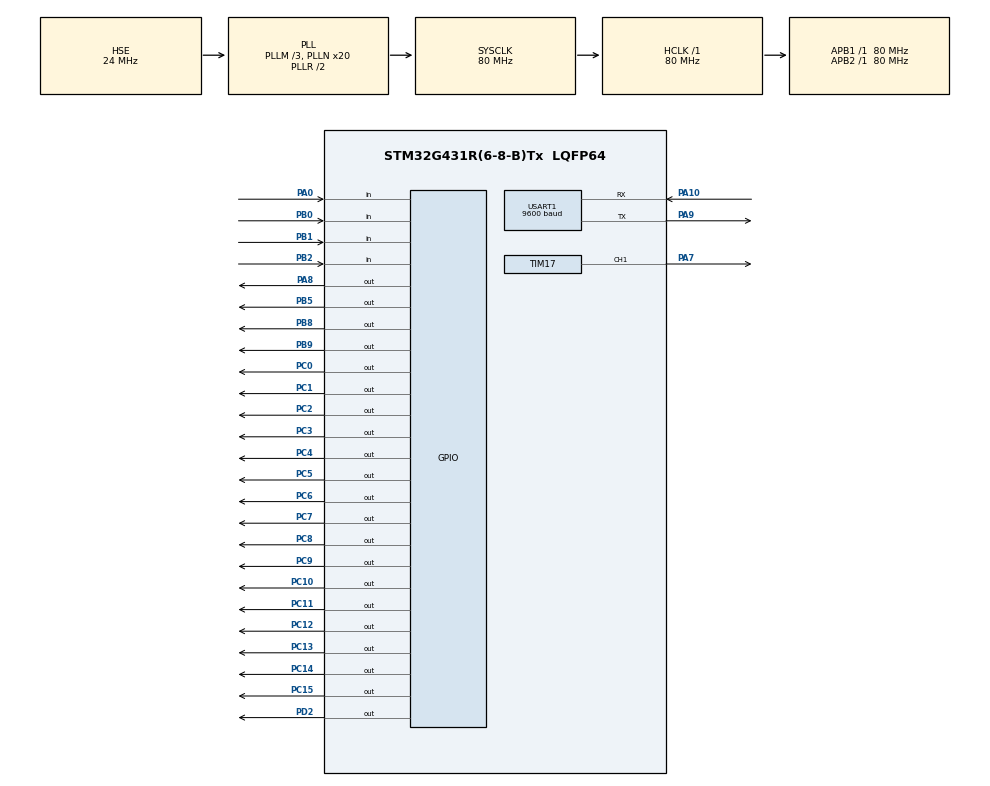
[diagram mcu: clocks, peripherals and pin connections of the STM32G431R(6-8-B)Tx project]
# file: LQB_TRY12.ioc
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Dma.Request0=USART1_RX
Dma.Request1=USART1_TX
Dma.USART1_RX.0.Direction=DMA_PERIPH_TO_MEMORY
Dma.USART1_RX.0.EventEnable=DISABLE
Dma.USART1_RX.0.Instance=DMA1_Channel1
Dma.USART1_RX.0.MemDataAlignment=DMA_MDATAALIGN_BYTE
Dma.USART1_RX.0.MemInc=DMA_MINC_ENABLE
Dma.USART1_RX.0.Mode=DMA_NORMAL
Dma.USART1_RX.0.PeriphDataAlignment=DMA_PDATAALIGN_BYTE
Dma.USART1_RX.0.PeriphInc=DMA_PINC_DISABLE
Dma.USART1_RX.0.Polarity=HAL_DMAMUX_REQ_GEN_RISING
Dma.USART1_RX.0.Priority=DMA_PRIORITY_LOW
Dma.USART1_RX.0.RequestNumber=1
Dma.USART1_RX.0.SignalID=NONE
Dma.USART1_RX.0.SyncEnable=DISABLE
Dma.USART1_RX.0.SyncPolarity=HAL_DMAMUX_SYNC_NO_EVENT
Dma.USART1_RX.0.SyncRequestNumber=1
Dma.USART1_RX.0.SyncSignalID=NONE
Dma.USART1_TX.1.Direction=DMA_MEMORY_TO_PERIPH
Dma.USART1_TX.1.EventEnable=DISABLE
Dma.USART1_TX.1.Instance=DMA1_Channel2
Dma.USART1_TX.1.MemDataAlignment=DMA_MDATAALIGN_BYTE
Dma.USART1_TX.1.MemInc=DMA_MINC_ENABLE
Dma.USART1_TX.1.Mode=DMA_NORMAL
Dma.USART1_TX.1.PeriphDataAlignment=DMA_PDATAALIGN_BYTE
Dma.USART1_TX.1.PeriphInc=DMA_PINC_DISABLE
Dma.USART1_TX.1.Polarity=HAL_DMAMUX_REQ_GEN_RISING
Dma.USART1_TX.1.Priority=DMA_PRIORITY_LOW
Dma.USART1_TX.1.RequestNumber=1
Dma.USART1_TX.1.SignalID=NONE
Dma.USART1_TX.1.SyncEnable=DISABLE
Dma.USART1_TX.1.SyncPolarity=HAL_DMAMUX_SYNC_NO_EVENT
Dma.USART1_TX.1.SyncRequestNumber=1
Dma.USART1_TX.1.SyncSignalID=NONE
Mcu.Family=STM32G4
Mcu.Name=STM32G431R(6-8-B)Tx
Mcu.Package=LQFP64
NVIC.DMA1_Channel1_IRQn=true\:0\:0\:false\:false\:true\:false\:true
NVIC.DMA1_Channel2_IRQn=true\:0\:0\:false\:false\:true\:false\:true
NVIC.PriorityGroup=NVIC_PRIORITYGROUP_4
NVIC.TIM3_IRQn=true\:0\:0\:false\:false\:true\:true\:true
NVIC.USART1_IRQn=true\:0\:0\:false\:false\:true\:true\:true
PA0.GPIO_Mode=GPIO_MODE_INPUT
PA0.GPIO_PuPd=GPIO_PULLUP
PA0.Signal=GPIO_Input
PA10.Mode=Asynchronous
PA10.Signal=USART1_RX
PA13.Mode=Serial_Wire
PA13.Signal=SYS_JTMS-SWDIO
PA14.Mode=Serial_Wire
PA14.Signal=SYS_JTCK-SWCLK
PA7.Signal=S_TIM17_CH1
PA8.Signal=GPIO_Output
PA9.Mode=Asynchronous
PA9.Signal=USART1_TX
PB0.GPIO_Mode=GPIO_MODE_INPUT
PB0.GPIO_PuPd=GPIO_PULLUP
PB0.Signal=GPIO_Input
PB1.GPIO_Mode=GPIO_MODE_INPUT
PB1.GPIO_PuPd=GPIO_PULLUP
PB1.Signal=GPIO_Input
PB2.GPIO_Mode=GPIO_MODE_INPUT
PB2.GPIO_PuPd=GPIO_PULLUP
PB2.Signal=GPIO_Input
PB5.Signal=GPIO_Output
PB8-BOOT0.Signal=GPIO_Output
PB9.Signal=GPIO_Output
PC0.Signal=GPIO_Output
PC1.Signal=GPIO_Output
PC10.Signal=GPIO_Output
PC11.Signal=GPIO_Output
PC12.Signal=GPIO_Output
PC13.Signal=GPIO_Output
PC14-OSC32_IN.Signal=GPIO_Output
PC15-OSC32_OUT.Signal=GPIO_Output
PC2.Signal=GPIO_Output
PC3.Signal=GPIO_Output
PC4.Signal=GPIO_Output
PC5.Signal=GPIO_Output
PC6.Signal=GPIO_Output
PC7.Signal=GPIO_Output
PC8.Signal=GPIO_Output
PC9.Signal=GPIO_Output
PD2.Signal=GPIO_Output
PF0-OSC_IN.Mode=HSE-External-Oscillator
PF0-OSC_IN.Signal=RCC_OSC_IN
PF1-OSC_OUT.Mode=HSE-External-Oscillator
PF1-OSC_OUT.Signal=RCC_OSC_OUT
ProjectManager.HeapSize=0x200
ProjectManager.StackSize=0x400
ProjectManager.TargetToolchain=MDK-ARM V5
RCC.ADC12Freq_Value=80000000
RCC.AHBFreq_Value=80000000
RCC.APB1Freq_Value=80000000
RCC.APB1TimFreq_Value=80000000
RCC.APB2Freq_Value=80000000
RCC.APB2TimFreq_Value=80000000
RCC.CortexFreq_Value=80000000
RCC.EXTERNAL_CLOCK_VALUE=12288000
RCC.HCLKFreq_Value=80000000
RCC.HSE_VALUE=24000000
RCC.HSI48_VALUE=48000000
RCC.HSI_VALUE=16000000
RCC.LSE_VALUE=32768
RCC.PLLM=RCC_PLLM_DIV3
RCC.PLLN=20
RCC.PLLSourceVirtual=RCC_PLLSOURCE_HSE
RCC.SYSCLKFreq_VALUE=80000000
RCC.SYSCLKSource=RCC_SYSCLKSOURCE_PLLCLK
RCC.USBFreq_Value=80000000
RCC.VCOOutputFreq_Value=160000000
SH.S_TIM17_CH1.0=TIM17_CH1,PWM Generation1 CH1
TIM17.Channel=TIM_CHANNEL_1
TIM17.PeriodNoDither=1000-1
TIM17.Prescaler=40-1
TIM3.PeriodNoDither=100-1
TIM3.Prescaler=800-1
USART1.BaudRate=9600
USART1.VirtualMode-Asynchronous=VM_ASYNC
USART1.WordLength=WORDLENGTH_8B
VP_SYS_VS_DBSignals.Mode=DisableDeadBatterySignals
VP_TIM17_VS_ClockSourceINT.Mode=Enable_Timer
VP_TIM3_VS_ClockSourceINT.Mode=Internal
board=custom

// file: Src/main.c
/* USER CODE BEGIN Header */
/**
  ******************************************************************************
  * @file           : main.c
  * @brief          : Main program body
  ******************************************************************************
  * @attention
  *
  * <h2><center>&copy; Copyright (c) 2023 STMicroelectronics.
  * All rights reserved.</center></h2>
  *
  * This software component is licensed by ST under BSD 3-Clause license,
  * the "License"; You may not use this file except in compliance with the
  * License. You may obtain a copy of the License at:
  *                        opensource.org/licenses/BSD-3-Clause
  *
  ******************************************************************************
  */
/* USER CODE END Header */

#include "main.h"
#include "dma.h"
#include "tim.h"
#include "usart.h"
#include "gpio.h"

/* USER CODE BEGIN Includes */
#include "lcd.h"
#include "mint.h"
#include "string.h"
#include "stdio.h"
/* USER CODE END Includes */

/* USER CODE BEGIN PV */
extern struct keys key[4];
bool page=0,pwm=1;
uint8_t sum=8,num_C=0,num_V=0;
double money_c=3.5,money_v=2;
char text[30];
extern unsigned char rxdata[100];

/* USER CODE END PV */

void SystemClock_Config(void);
/* USER CODE BEGIN PFP */
void KEY_Proc(void);
void LCD_Proc(void);
void usart1_Proc(void);
void LED_Proc(uint16_t pin);
/* USER CODE END PFP */

int main(void)
{

  /* MCU Configuration--------------------------------------------------------*/

  /* Reset of all peripherals, Initializes the Flash interface and the Systick. */
  HAL_Init();

  /* Configure the system clock */
  SystemClock_Config();

  /* Initialize all configured peripherals */
  MX_GPIO_Init();
  MX_DMA_Init();
  MX_TIM17_Init();
  MX_USART1_UART_Init();
  MX_TIM3_Init();
  /* USER CODE BEGIN 2 */
	HAL_TIM_Base_Start_IT(&htim3);

	HAL_TIM_PWM_Start(&htim17,TIM_CHANNEL_1);
	__HAL_TIM_SetCompare(&htim17,TIM_CHANNEL_1,0);

	HAL_UART_Receive_DMA(&huart1,rxdata,100);
	__HAL_UART_ENABLE_IT(&huart1,UART_IT_IDLE);

	LCD_Init();
	LCD_Clear(Black);
	LCD_SetBackColor(Black);
	LCD_SetTextColor(White);
  /* USER CODE END 2 */

  /* Infinite loop */
  /* USER CODE BEGIN WHILE */
  while (1)
  {
		LCD_Proc();
		KEY_Proc();
		if(num_C+num_V<8 && pwm == 0) LED_Proc(0x03);
		else if(num_C+num_V<8 && pwm == 1) LED_Proc(0x01);
		else if(num_C+num_V>=8 && pwm == 0) LED_Proc(0x02);
		else LED_Proc(0x00);
    /* USER CODE END WHILE */

  }
}

void SystemClock_Config(void)
{
  RCC_OscInitTypeDef RCC_OscInitStruct = {0};
  RCC_ClkInitTypeDef RCC_ClkInitStruct = {0};
  RCC_PeriphCLKInitTypeDef PeriphClkInit = {0};

  /** Configure the main internal regulator output voltage
  */
  HAL_PWREx_ControlVoltageScaling(PWR_REGULATOR_VOLTAGE_SCALE1);
  /** Initializes the CPU, AHB and APB busses clocks
  */
  RCC_OscInitStruct.OscillatorType = RCC_OSCILLATORTYPE_HSE;
  RCC_OscInitStruct.HSEState = RCC_HSE_ON;
  RCC_OscInitStruct.PLL.PLLState = RCC_PLL_ON;
  RCC_OscInitStruct.PLL.PLLSource = RCC_PLLSOURCE_HSE;
  RCC_OscInitStruct.PLL.PLLM = RCC_PLLM_DIV3;
  RCC_OscInitStruct.PLL.PLLN = 20;
  RCC_OscInitStruct.PLL.PLLP = RCC_PLLP_DIV2;
  RCC_OscInitStruct.PLL.PLLQ = RCC_PLLQ_DIV2;
  RCC_OscInitStruct.PLL.PLLR = RCC_PLLR_DIV2;
  if (HAL_RCC_OscConfig(&RCC_OscInitStruct) != HAL_OK)
  {
    Error_Handler();
  }
  /** Initializes the CPU, AHB and APB busses clocks
  */
  RCC_ClkInitStruct.ClockType = RCC_CLOCKTYPE_HCLK|RCC_CLOCKTYPE_SYSCLK
                              |RCC_CLOCKTYPE_PCLK1|RCC_CLOCKTYPE_PCLK2;
  RCC_ClkInitStruct.SYSCLKSource = RCC_SYSCLKSOURCE_PLLCLK;
  RCC_ClkInitStruct.AHBCLKDivider = RCC_SYSCLK_DIV1;
  RCC_ClkInitStruct.APB1CLKDivider = RCC_HCLK_DIV1;
  RCC_ClkInitStruct.APB2CLKDivider = RCC_HCLK_DIV1;

  if (HAL_RCC_ClockConfig(&RCC_ClkInitStruct, FLASH_LATENCY_3) != HAL_OK)
  {
    Error_Handler();
  }
  /** Initializes the peripherals clocks
  */
  PeriphClkInit.PeriphClockSelection = RCC_PERIPHCLK_USART1;
  PeriphClkInit.Usart1ClockSelection = RCC_USART1CLKSOURCE_PCLK2;
  if (HAL_RCCEx_PeriphCLKConfig(&PeriphClkInit) != HAL_OK)
  {
    Error_Handler();
  }
}

/* USER CODE BEGIN 4 */
void KEY_Proc(void)
{
	if(key[0].single_sta == 1)
	{
		page = 1-page;
		key[0].single_sta = 0;
	}
	if(key[1].single_sta == 1)
	{
		if(page == 1)
		{
			money_c += 0.5;
			money_v += 0.5;
		}
		key[1].single_sta = 0;
	}
	if(key[2].single_sta == 1)
	{
		if(page == 1)
		{
			money_c = (money_c-0.5)>=0?(money_c-0.5):0;
			money_v = (money_v-0.5)>=0?(money_v-0.5):0;
		}
		key[2].single_sta = 0;
	}
	if(key[3].single_sta == 1)
	{
		pwm = 1 - pwm;
		if(pwm == 0) __HAL_TIM_SetCompare(&htim17,TIM_CHANNEL_1,200);
		else if(pwm == 1) __HAL_TIM_SetCompare(&htim17,TIM_CHANNEL_1,0);
		else pwm = 1;
		HAL_UART_Transmit_DMA(&huart1,(unsigned char *)"KEY4_DOWN\r\n",strlen("KEY4_DOWN\r\n"));
		key[3].single_sta = 0;
	}
}

void LCD_Proc(void)
{
	if(page == 0)
	{
		LCD_DisplayStringLine(Line1,(unsigned char *)"       Data         ");
		sprintf(text,"   CNBR:%d           ",num_C);
		LCD_DisplayStringLine(Line3,(unsigned char *)text);
		sprintf(text,"   VNBR:%d           ",num_V);
		LCD_DisplayStringLine(Line5,(unsigned char *)text);
		sprintf(text,"   IDLE:%d           ",8-num_C-num_V);
		LCD_DisplayStringLine(Line7,(unsigned char *)text);
	}
	else if(page == 1)
	{
		LCD_DisplayStringLine(Line1,(unsigned char *)"       Para         ");
		sprintf(text,"   CNBR:%.2f           ",money_c);
		LCD_DisplayStringLine(Line3,(unsigned char *)text);
		sprintf(text,"   VNBR:%.2f           ",money_v);
		LCD_DisplayStringLine(Line5,(unsigned char *)text);
		LCD_DisplayStringLine(Line7,(unsigned char *)"                    ");
	}
	else page = 1;
}

void LED_Proc(uint16_t pin)
{
	HAL_GPIO_WritePin(GPIOC,GPIO_PIN_All,GPIO_PIN_SET);
	HAL_GPIO_WritePin(GPIOC,pin << 8,GPIO_PIN_RESET);
	HAL_GPIO_WritePin(GPIOD,GPIO_PIN_2,GPIO_PIN_SET);
	HAL_GPIO_WritePin(GPIOD,GPIO_PIN_2,GPIO_PIN_RESET);
}

/* USER CODE END 4 */

void Error_Handler(void)
{
}

/************************ (C) COPYRIGHT STMicroelectronics *****END OF FILE****/
